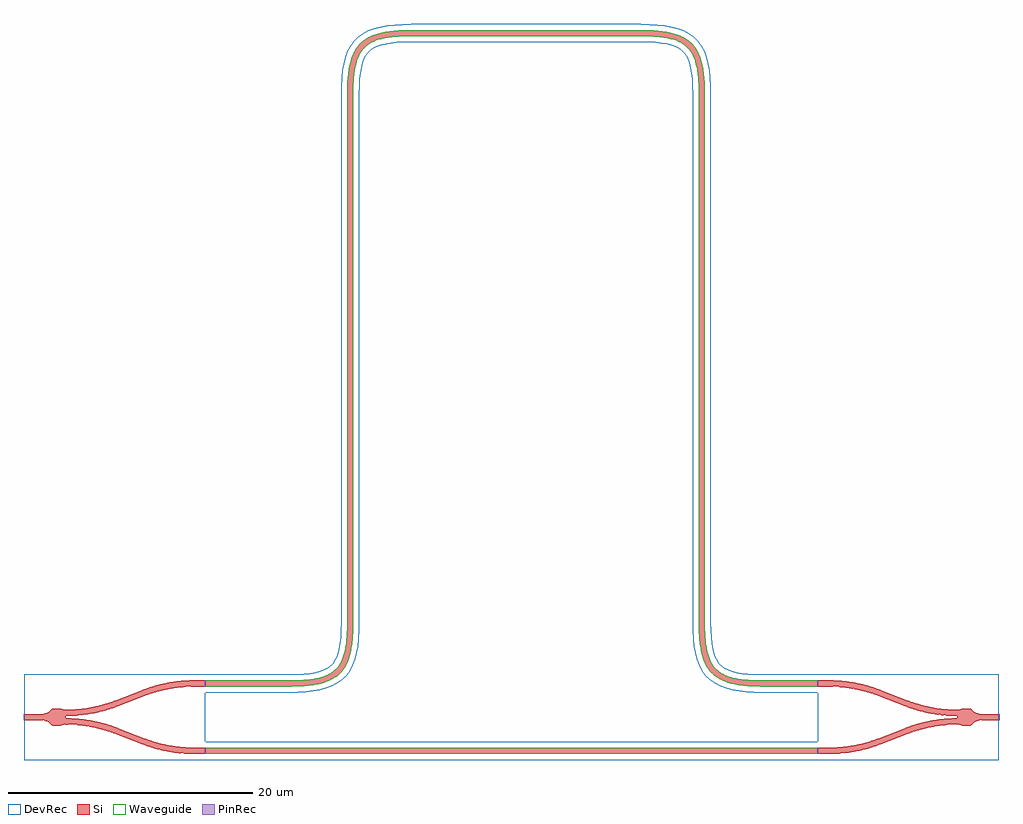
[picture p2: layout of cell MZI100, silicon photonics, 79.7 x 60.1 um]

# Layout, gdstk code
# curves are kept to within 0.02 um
from math import pi, radians
import gdstk
lib = gdstk.Library(unit=1e-6, precision=1e-09)
def R(c, l, rs):  # rectangles x0, y0, x1, y1
    for r in rs: c.add(gdstk.rectangle(r[:2], r[2:], *l))
def P(c, l, *ps):  # polygons
    for p in ps: c.add(gdstk.Polygon(p, *l))
Si = (1, 0)
PinRec = (1, 10)
Waveguide = (1, 99)
DevRec = (68, 0)

waveguide = lib.new_cell('Waveguide')
R(waveguide, Si, [(8.91,-1.04,58.91,-0.54)])
R(waveguide, Waveguide, [(8.91,-1.04,58.91,-0.54)])
R(waveguide, DevRec, [(8.91,-1.54,58.91,-0.04)])
waveguide.add(gdstk.FlexPath([(8.92,-0.79),(8.9,-0.79)], 0.5, ends="flush", simple_path=True, layer=1, datatype=10))  # PinRec
waveguide.add(gdstk.FlexPath([(58.9,-0.79),(58.92,-0.79)], 0.5, ends="flush", simple_path=True, layer=1, datatype=10))  # PinRec
waveguide.add(gdstk.Label('opt1', (8.91,-0.79), layer=1, texttype=10))
waveguide.add(gdstk.Label('opt2', (58.91,-0.79), layer=1, texttype=10))
waveguide.add(gdstk.Label('Lumerical_INTERCONNECT_library=Design kits/EBeam', (8.91,-0.89), layer=68, texttype=0))
waveguide.add(gdstk.Label('Component=ebeam_wg_integral_1550', (8.91,-0.69), layer=68, texttype=0))
waveguide.add(gdstk.Label('cellName=Waveguide', (8.91,-0.59), layer=68, texttype=0))
waveguide.add(gdstk.Label('Spice_param:wg_length=0.000050000 wg_width=5e-07 points="[[8.91,-0.79],[58.91,-0.79]]" radius=5e-06', (8.91,-0.79), layer=68, texttype=0))
waveguide.add(gdstk.Label('Length=50.000 (microns)', (8.91,-1.39), layer=68, texttype=0))
waveguide.add(gdstk.Label('waveguide_type=Strip TE 1550 nm, w=500 nm', (8.91,-0.99), layer=68, texttype=0))

ebeam_y_1550 = lib.new_cell('ebeam_y_1550')
R(ebeam_y_1550, Si, [(6.5,-3,7.4,-2.5), (-7.4,-0.25,-6,0.25), (6.5,2.5,7.4,3)])
P(ebeam_y_1550, Si, [(6.458,-3),(6.237,-2.997),(6.237,-2.497),(6.5,-2.5),(6.5,-3)],
  [(5.033,-2.908),(4.288,-2.79),(3.59,-2.634),(2.922,-2.442),(2.265,-2.21),(2.445,-1.744),(3.075,-1.966),(3.731,-2.154),(5.033,-2.404)],
  [(6.233,-2.997),(5.033,-2.908),(5.033,-2.404),(6.237,-2.497)],
  [(2.265,-2.21),(0.055,-1.356),(0.235,-0.89),(2.445,-1.744)],
  [(-0.762,-1.076),(-1.532,-0.874),(-2.334,-0.724),(-3.178,-0.63),(-4,-0.6),(-4,-0.1),(-3.16,-0.13),(-2.381,-0.212),(-1.565,-0.355),(-0.762,-0.555)],
  [(0.055,-1.356),(-0.762,-1.076),(-0.762,-0.555),(0.235,-0.89)],
  [(6.237,2.497),(6.237,2.997),(6.5,3),(6.5,2.5)],
  [(2.445,1.744),(2.267,2.211),(2.922,2.442),(3.59,2.634),(4.288,2.79),(5.033,2.908),(5.033,2.404),(3.731,2.154),(3.075,1.966)],
  [(5.033,2.404),(5.033,2.908),(6.237,2.997),(6.237,2.497)],
  [(0.235,0.89),(0.055,1.356),(2.265,2.21),(2.445,1.744)],
  [(-4,0.1),(-4,0.6),(-3.178,0.63),(-2.334,0.724),(-1.532,0.874),(-0.762,1.076),(-0.762,0.555),(-1.565,0.355),(-2.381,0.212),(-3.16,0.13)],
  [(-0.762,0.555),(-0.762,1.076),(0.055,1.356),(0.235,0.89)],
  [(-5.122,-0.662),(-5.442,-0.374),(-5.808,-0.255),(-6,-0.25),(-6,0.25),(-5.817,0.253),(-5.442,0.374),(-5.122,0.662)],
  [(-4.957,-0.703),(-5.122,-0.662),(-5.122,0.662),(-4.978,0.702),(-4.538,0.703),(-4.167,0.6),(-4,0.6),(-4,-0.6),(-4.167,-0.6),(-4.509,-0.701)])
R(ebeam_y_1550, DevRec, [(-7.4,-3.5,7.4,3.5)])
ebeam_y_1550.add(gdstk.FlexPath([(-7.35,0),(-7.45,0)], 0.5, ends="flush", simple_path=True, layer=1, datatype=10))  # PinRec
ebeam_y_1550.add(gdstk.FlexPath([(7.35,2.75),(7.45,2.75)], 0.5, ends="flush", simple_path=True, layer=1, datatype=10))  # PinRec
ebeam_y_1550.add(gdstk.FlexPath([(7.35,-2.75),(7.45,-2.75)], 0.5, ends="flush", simple_path=True, layer=1, datatype=10))  # PinRec
ebeam_y_1550.add(gdstk.Label('Ref: Y Zhang, Opt. Express, 21/1, 2013', (-7.5,-1), layer=10, texttype=0))
ebeam_y_1550.add(gdstk.Label('opt2', (7.4,2.75), layer=1, texttype=10))
ebeam_y_1550.add(gdstk.Label('opt3', (7.4,-2.75), layer=1, texttype=10))
ebeam_y_1550.add(gdstk.Label('opt1', (-7.4,0), layer=1, texttype=10))
ebeam_y_1550.add(gdstk.Label('Component=ebeam_y_1550', (-6,1.5), layer=68, texttype=0))
ebeam_y_1550.add(gdstk.Label('Lumerical_INTERCONNECT_library=Design kits/ebeam', (-6.86,-2.19), layer=68, texttype=0))

waveguide_9 = lib.new_cell('Waveguide$9')
P(waveguide_9, Si, [(8.91,4.46),(8.91,4.96),(16.167,4.964),(17.299,5.031),(18.219,5.188),(18.604,5.304),(19.043,5.5),(19.407,5.744),(19.636,5.963),(19.833,6.216),(20.053,6.616),(20.294,7.368),(20.377,7.82),(20.451,8.503),(20.49,9.71),(20.494,53.251),(20.563,54.427),(20.697,55.263),(20.817,55.707),(20.97,56.111),(21.307,56.694),(21.563,56.991),(21.859,57.246),(22.196,57.461),(22.707,57.689),(23.29,57.856),(23.776,57.945),(24.497,58.023),(25.302,58.059),(45.097,58.055),(46.24,57.97),(47.053,57.82),(47.747,57.584),(48.33,57.247),(48.627,56.991),(48.882,56.695),(49.097,56.358),(49.325,55.847),(49.492,55.264),(49.581,54.778),(49.69,53.462),(49.7,9.71),(49.738,8.504),(49.865,7.514),(49.964,7.098),(50.136,6.617),(50.297,6.31),(50.484,6.043),(50.703,5.814),(50.956,5.617),(51.249,5.448),(51.585,5.305),(52.108,5.156),(52.56,5.073),(53.62,4.978),(58.91,4.96),(58.91,4.46),(53.802,4.47),(52.659,4.555),(51.846,4.705),(51.282,4.886),(50.906,5.063),(50.569,5.278),(50.273,5.533),(50.017,5.83),(49.802,6.167),(49.625,6.543),(49.484,6.96),(49.375,7.418),(49.273,8.097),(49.201,9.489),(49.2,52.814),(49.146,54.2),(49.004,55.156),(48.763,55.908),(48.602,56.215),(48.415,56.482),(48.032,56.845),(47.753,57.024),(47.431,57.175),(46.646,57.399),(45.656,57.526),(44.45,57.564),(25.74,57.564),(24.718,57.536),(23.543,57.398),(22.758,57.174),(22.436,57.023),(22.072,56.779),(21.843,56.56),(21.646,56.307),(21.379,55.795),(21.185,55.155),(21.043,54.199),(20.994,53.241),(20.99,9.71),(20.934,8.278),(20.871,7.746),(20.745,7.106),(20.564,6.542),(20.387,6.166),(20.172,5.829),(19.917,5.533),(19.62,5.277),(19.162,4.999),(18.772,4.834),(18.189,4.667),(17.353,4.533),(16.177,4.464)])
P(waveguide_9, Waveguide, [(8.91,4.46),(8.91,4.96),(16.167,4.964),(17.299,5.031),(18.219,5.188),(18.604,5.304),(19.043,5.5),(19.407,5.744),(19.636,5.963),(19.833,6.216),(20.053,6.616),(20.294,7.368),(20.377,7.82),(20.451,8.503),(20.49,9.71),(20.494,53.251),(20.563,54.427),(20.697,55.263),(20.817,55.707),(20.97,56.111),(21.307,56.694),(21.563,56.991),(21.859,57.246),(22.196,57.461),(22.707,57.689),(23.29,57.856),(23.776,57.945),(24.497,58.023),(25.302,58.059),(45.097,58.055),(46.24,57.97),(47.053,57.82),(47.747,57.584),(48.33,57.247),(48.627,56.991),(48.882,56.695),(49.097,56.358),(49.325,55.847),(49.492,55.264),(49.581,54.778),(49.69,53.462),(49.7,9.71),(49.738,8.504),(49.865,7.514),(49.964,7.098),(50.136,6.617),(50.297,6.31),(50.484,6.043),(50.703,5.814),(50.956,5.617),(51.249,5.448),(51.585,5.305),(52.108,5.156),(52.56,5.073),(53.62,4.978),(58.91,4.96),(58.91,4.46),(53.802,4.47),(52.659,4.555),(51.846,4.705),(51.282,4.886),(50.906,5.063),(50.569,5.278),(50.273,5.533),(50.017,5.83),(49.802,6.167),(49.625,6.543),(49.484,6.96),(49.375,7.418),(49.273,8.097),(49.201,9.489),(49.2,52.814),(49.146,54.2),(49.004,55.156),(48.763,55.908),(48.602,56.215),(48.415,56.482),(48.032,56.845),(47.753,57.024),(47.431,57.175),(46.646,57.399),(45.656,57.526),(44.45,57.564),(25.74,57.564),(24.718,57.536),(23.543,57.398),(22.758,57.174),(22.436,57.023),(22.072,56.779),(21.843,56.56),(21.646,56.307),(21.379,55.795),(21.185,55.155),(21.043,54.199),(20.994,53.241),(20.99,9.71),(20.934,8.278),(20.871,7.746),(20.745,7.106),(20.564,6.542),(20.387,6.166),(20.172,5.829),(19.917,5.533),(19.62,5.277),(19.162,4.999),(18.772,4.834),(18.189,4.667),(17.353,4.533),(16.177,4.464)])
P(waveguide_9, DevRec, [(8.91,3.96),(8.91,5.46),(16.389,5.47),(16.97,5.502),(17.933,5.635),(18.635,5.855),(19.115,6.152),(19.297,6.334),(19.594,6.814),(19.814,7.516),(19.947,8.479),(19.99,9.71),(20,53.515),(20.101,54.766),(20.199,55.323),(20.335,55.841),(20.517,56.323),(20.751,56.764),(21.042,57.163),(21.39,57.511),(21.789,57.802),(22.23,58.036),(22.712,58.218),(23.23,58.354),(23.787,58.452),(24.389,58.517),(25.74,58.564),(45.151,58.554),(46.402,58.453),(46.959,58.355),(47.477,58.219),(47.959,58.037),(48.4,57.803),(48.799,57.512),(49.147,57.164),(49.438,56.765),(49.672,56.324),(49.854,55.842),(49.99,55.324),(50.088,54.767),(50.189,53.516),(50.2,9.71),(50.242,8.48),(50.375,7.517),(50.595,6.815),(50.892,6.335),(51.074,6.153),(51.554,5.856),(52.256,5.636),(53.219,5.503),(53.8,5.471),(58.91,5.46),(58.91,3.96),(53.748,3.971),(52.497,4.072),(51.94,4.17),(51.422,4.306),(50.94,4.488),(50.499,4.722),(50.1,5.013),(49.752,5.361),(49.461,5.76),(49.227,6.201),(49.045,6.683),(48.909,7.201),(48.811,7.758),(48.746,8.36),(48.7,9.71),(48.7,52.814),(48.657,54.045),(48.524,55.008),(48.304,55.71),(48.007,56.19),(47.825,56.372),(47.608,56.529),(47.345,56.669),(47.025,56.789),(46.194,56.967),(45.68,57.022),(44.45,57.064),(25.09,57.053),(23.995,56.966),(23.164,56.788),(22.844,56.668),(22.581,56.528),(22.364,56.371),(22.182,56.189),(22.025,55.972),(21.885,55.709),(21.765,55.389),(21.587,54.558),(21.532,54.044),(21.49,52.814),(21.49,9.71),(21.443,8.359),(21.28,7.2),(21.144,6.682),(20.962,6.2),(20.728,5.759),(20.437,5.36),(20.089,5.012),(19.69,4.721),(19.249,4.487),(18.767,4.305),(18.249,4.169),(17.692,4.071),(16.441,3.97)])
waveguide_9.add(gdstk.FlexPath([(8.92,4.71),(8.9,4.71)], 0.5, ends="flush", simple_path=True, layer=1, datatype=10))  # PinRec
waveguide_9.add(gdstk.FlexPath([(58.9,4.71),(58.92,4.71)], 0.5, ends="flush", simple_path=True, layer=1, datatype=10))  # PinRec
waveguide_9.add(gdstk.Label('opt1', (8.91,4.71), layer=1, texttype=10))
waveguide_9.add(gdstk.Label('opt2', (58.91,4.71), layer=1, texttype=10))
waveguide_9.add(gdstk.Label('Lumerical_INTERCONNECT_library=Design kits/EBeam', (8.91,4.61), layer=68, texttype=0))
waveguide_9.add(gdstk.Label('Component=ebeam_wg_integral_1550', (8.91,4.81), layer=68, texttype=0))
waveguide_9.add(gdstk.Label('cellName=Waveguide', (8.91,4.91), layer=68, texttype=0))
waveguide_9.add(gdstk.Label('Spice_param:wg_length=0.000150001 wg_width=5e-07 points="[[8.91,4.71],[20.74,4.71],[20.74,57.814],[49.45,57.814],[49.45,4.71],[58.91,4.71]]" radius=5e-06', (8.91,4.71), layer=68, texttype=0))
waveguide_9.add(gdstk.Label('Length=150.001 (microns)', (8.91,4.11), layer=68, texttype=0))
waveguide_9.add(gdstk.Label('waveguide_type=Strip TE 1550 nm, w=500 nm', (8.91,4.51), layer=68, texttype=0))

mzi100 = lib.new_cell('MZI100')
mzi100.add(gdstk.Reference(waveguide, (5.99,1.54)))
mzi100.add(gdstk.Reference(ebeam_y_1550, (72.3,3.5), rotation=pi))
mzi100.add(gdstk.Reference(ebeam_y_1550, (7.5,3.5)))
mzi100.add(gdstk.Reference(waveguide_9, (5.99,1.54)))

lib.write_gds('MZI100.gds')
